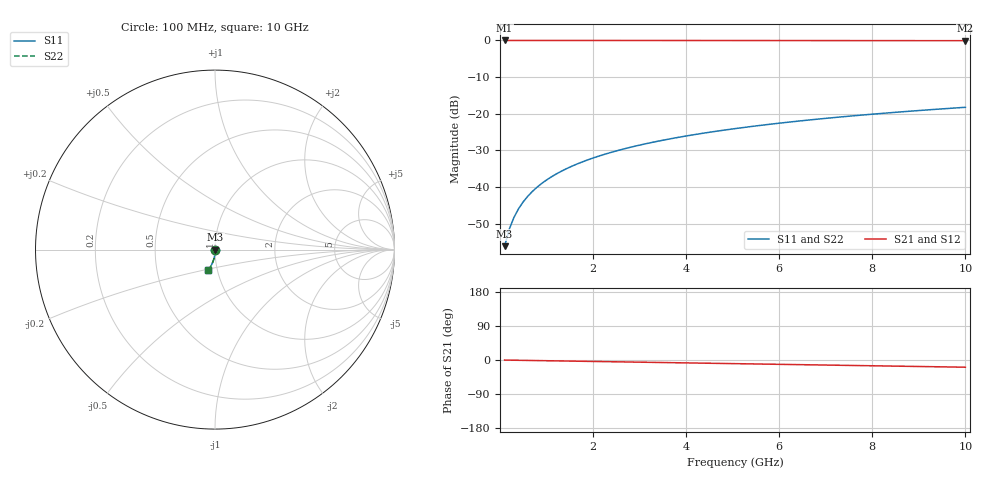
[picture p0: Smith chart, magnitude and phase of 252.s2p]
# Hz S RI R 50.00
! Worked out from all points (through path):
!   100 points, 100 MHz to 10 GHz, reference 50 ohm
!   highest |S21| = -0.01 dB at 100 MHz (marker M1); lowest = -0.1 dB at 10 GHz (marker M2)
!   group delay of S21, straight-line fit = 5.29 ps
!   lowest |S11| = -56.1 dB at 100 MHz (marker M3), VSWR 1.00, Z = 50.1 - j0.125 ohm
!   |S11| at or under -10 dB: start of sweep to end of sweep
!   |S22| runs from -56.1 to -18.2 dB; largest |S21 - S12| = 0
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1e8  0.00095 -0.00125  0.999 -0.00332  0.999 -0.00332  0.00095 -0.00125
2e8  0.000942 -0.0025  0.999 -0.00664  0.999 -0.00664  0.000942 -0.0025
3e8  0.000923 -0.00375  0.999 -0.00997  0.999 -0.00997  0.000923 -0.00375
4e8  0.000896 -0.00501  0.9989 -0.0133  0.9989 -0.0133  0.000896 -0.00501
5e8  0.00086 -0.00626  0.9989 -0.0166  0.9989 -0.0166  0.00086 -0.00626
6e8  0.000815 -0.00751  0.9988 -0.0199  0.9988 -0.0199  0.000815 -0.00751
7e8  0.000761 -0.00876  0.9987 -0.0233  0.9987 -0.0233  0.000761 -0.00876
8e8  0.000699 -0.01  0.9986 -0.0266  0.9986 -0.0266  0.000699 -0.01
9e8  0.000629 -0.0113  0.9985 -0.0299  0.9985 -0.0299  0.000629 -0.0113
1.1e9  0.000462 -0.0138  0.9982 -0.0365  0.9982 -0.0365  0.000462 -0.0138
1.4e9  0.00015 -0.0175  0.9977 -0.0465  0.9977 -0.0465  0.00015 -0.0175
1.8e9  -0.000383 -0.0225  0.9969 -0.0598  0.9969 -0.0598  -0.000383 -0.0225
2.1e9  -0.000871 -0.0262  0.9962 -0.0697  0.9962 -0.0697  -0.000871 -0.0262
2.5e9  -0.00164 -0.0312  0.995 -0.0829  0.995 -0.0829  -0.00164 -0.0312
2.9e9  -0.00253 -0.0361  0.9936 -0.0961  0.9936 -0.0961  -0.00253 -0.0361
3.4e9  -0.00384 -0.0422  0.9916 -0.1126  0.9916 -0.1126  -0.00384 -0.0422
4.2e9  -0.00635 -0.0519  0.9878 -0.1389  0.9878 -0.1389  -0.00635 -0.0519
5.1e9  -0.00979 -0.0627  0.9825 -0.1683  0.9825 -0.1683  -0.00979 -0.0627
5.9e9  -0.0134 -0.072  0.977 -0.1942  0.977 -0.1942  -0.0134 -0.072
6.7e9  -0.0175 -0.0812  0.9707 -0.2199  0.9707 -0.2199  -0.0175 -0.0812
8.4e9  -0.0277 -0.0998  0.9548 -0.2738  0.9548 -0.2738  -0.0277 -0.0998
1e10  -0.0392 -0.1162  0.9369 -0.3233  0.9369 -0.3233  -0.0392 -0.1162
